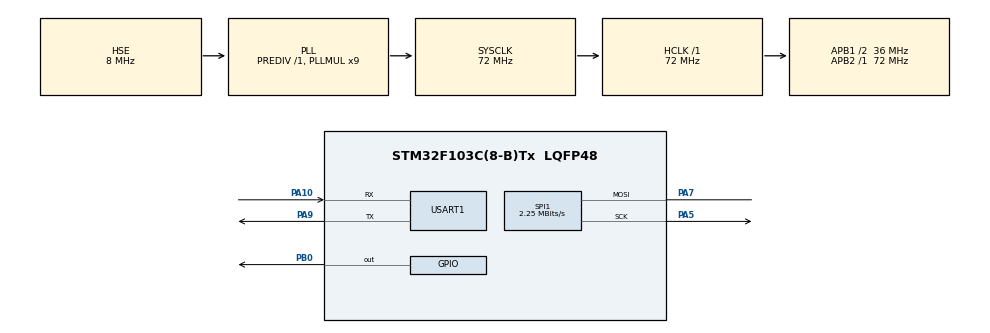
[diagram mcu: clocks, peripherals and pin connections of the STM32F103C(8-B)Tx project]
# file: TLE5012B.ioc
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Mcu.Family=STM32F1
Mcu.Name=STM32F103C(8-B)Tx
Mcu.Package=LQFP48
NVIC.PriorityGroup=NVIC_PRIORITYGROUP_4
PA10.Mode=Asynchronous
PA10.Signal=USART1_RX
PA13.Mode=Serial_Wire
PA13.Signal=SYS_JTMS-SWDIO
PA14.Mode=Serial_Wire
PA14.Signal=SYS_JTCK-SWCLK
PA5.Mode=Simplex_Bidirectional_Master
PA5.Signal=SPI1_SCK
PA7.Mode=Simplex_Bidirectional_Master
PA7.Signal=SPI1_MOSI
PA9.Mode=Asynchronous
PA9.Signal=USART1_TX
PB0.PinState=GPIO_PIN_SET
PB0.Signal=GPIO_Output
PD0-OSC_IN.Mode=HSE-External-Oscillator
PD0-OSC_IN.Signal=RCC_OSC_IN
PD1-OSC_OUT.Mode=HSE-External-Oscillator
PD1-OSC_OUT.Signal=RCC_OSC_OUT
ProjectManager.HeapSize=0x200
ProjectManager.StackSize=0x400
ProjectManager.TargetToolchain=MDK-ARM V5.32
RCC.AHBFreq_Value=72000000
RCC.APB1CLKDivider=RCC_HCLK_DIV2
RCC.APB1Freq_Value=36000000
RCC.APB1TimFreq_Value=72000000
RCC.APB2Freq_Value=72000000
RCC.APB2TimFreq_Value=72000000
RCC.HCLKFreq_Value=72000000
RCC.PLLMUL=RCC_PLL_MUL9
RCC.PLLSourceVirtual=RCC_PLLSOURCE_HSE
RCC.SYSCLKFreq_VALUE=72000000
RCC.SYSCLKSource=RCC_SYSCLKSOURCE_PLLCLK
RCC.USBFreq_Value=72000000
SPI1.BaudRatePrescaler=SPI_BAUDRATEPRESCALER_32
SPI1.CLKPhase=SPI_PHASE_2EDGE
SPI1.CLKPolarity=SPI_POLARITY_HIGH
SPI1.CRCCalculation=SPI_CRCCALCULATION_ENABLE
SPI1.CalculateBaudRate=2.25 MBits/s
SPI1.Direction=SPI_DIRECTION_1LINE
SPI1.Mode=SPI_MODE_MASTER
SPI1.VirtualType=VM_MASTER
USART1.VirtualMode=VM_ASYNC
board=custom

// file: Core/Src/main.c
/* USER CODE BEGIN Header */
/**
  ******************************************************************************
  * @file           : main.c
  * @brief          : Main program body
  ******************************************************************************
  * @attention
  *
  * Copyright (c) 2025 STMicroelectronics.
  * All rights reserved.
  *
  * This software is licensed under terms that can be found in the LICENSE file
  * in the root directory of this software component.
  * If no LICENSE file comes with this software, it is provided AS-IS.
  *
  ******************************************************************************
  */
/* USER CODE END Header */
#include "main.h"
#include "spi.h"
#include "usart.h"
#include "gpio.h"

/* USER CODE BEGIN Includes */
#include "stdio.h"
#include "string.h"
#include "TLE5012B.h"
/* USER CODE END Includes */

void SystemClock_Config(void);
/* USER CODE BEGIN PFP */
void HardwareDiagnostic(void);
void SimpleCommunicationTest(void);
uint16_t ReadAngle_Basic(void);
uint16_t ReadAngle_Alternative(void);
uint16_t ReadAngle_SingleTransaction(void);

void TestCRC_Calculation(void);
// SSC通信测试
void TestSSC_Communication(void);
// SPI模式测试
void TestSPI_Modes(void);
void TLE5012_Init_SSC(void);
// 读取角速度
float ReadAngularSpeed_SSC(void);
// 完整的角度读取函数（基于博客原理）
float ReadAngle_SSC(void);

HAL_StatusTypeDef TLE5012B_ReadAngle(SPI_HandleTypeDef *hspi, GPIO_TypeDef *CS_GPIO, uint16_t CS_Pin, float *angle);
void TLE5012B_Init(void);
/* USER CODE END PFP */

/* USER CODE BEGIN 0 */
// 方法1: 最基本的读取（推荐先试这个）
uint16_t ReadAngle_Basic(void)
{
    uint8_t tx_buf[2];
    uint8_t rx_buf[2];
    uint16_t result;

    // 发送读取命令
    tx_buf[0] = 0x80; // 0x8021 高字节
    tx_buf[1] = 0x21; // 0x8021 低字节

    HAL_GPIO_WritePin(GPIOB, 0x0001, 0);
    HAL_SPI_TransmitReceive(&hspi1, tx_buf, rx_buf, 2, 1000);
    HAL_GPIO_WritePin(GPIOB, 0x0001, 1);

    // 重要：给传感器处理时间
    HAL_Delay(5); // 增加到5ms

    // 读取数据
    tx_buf[0] = 0xFF; // 哑元数据
    tx_buf[1] = 0xFF; // 哑元数据

    HAL_GPIO_WritePin(GPIOB, 0x0001, 0);
    HAL_SPI_TransmitReceive(&hspi1, tx_buf, rx_buf, 2, 1000);
    HAL_GPIO_WritePin(GPIOB, 0x0001, 1);

    result = (rx_buf[0] << 8) | rx_buf[1];
    return result;
}

// 方法2: 使用不同的寄存器地址尝试
uint16_t ReadAngle_Alternative(void)
{
    uint8_t tx_buf[2];
    uint8_t rx_buf[2];
    uint16_t result;

    // 尝试使用0x8020而不是0x8021
    tx_buf[0] = 0x80; // 0x8020 高字节
    tx_buf[1] = 0x20; // 0x8020 低字节

    HAL_GPIO_WritePin(GPIOB, 0x0001, 0);
    HAL_SPI_TransmitReceive(&hspi1, tx_buf, rx_buf, 2, 1000);
    HAL_GPIO_WritePin(GPIOB, 0x0001, 1);

    HAL_Delay(5);

    tx_buf[0] = 0xFF;
    tx_buf[1] = 0xFF;

    HAL_GPIO_WritePin(GPIOB, 0x0001, 0);
    HAL_SPI_TransmitReceive(&hspi1, tx_buf, rx_buf, 2, 1000);
    HAL_GPIO_WritePin(GPIOB, 0x0001, 1);

    result = (rx_buf[0] << 8) | rx_buf[1];
    return result;
}

// 方法3: 单次长传输
uint16_t ReadAngle_SingleTransaction(void)
{
    uint8_t tx_buf[4];
    uint8_t rx_buf[4];
    uint16_t result;

    // 一次性发送命令和哑元数据
    tx_buf[0] = 0x80; // 命令高字节
    tx_buf[1] = 0x21; // 命令低字节
    tx_buf[2] = 0xFF; // 哑元高字节
    tx_buf[3] = 0xFF; // 哑元低字节

    HAL_GPIO_WritePin(GPIOB, 0x0001, 0);
    HAL_SPI_TransmitReceive(&hspi1, tx_buf, rx_buf, 4, 1000);
    HAL_GPIO_WritePin(GPIOB, 0x0001, 1);

    // 从第3、4字节获取角度数据
    result = (rx_buf[2] << 8) | rx_buf[3];
    return result;
}

// 读取角度值（核心函数）
HAL_StatusTypeDef TLE5012B_ReadAngle(SPI_HandleTypeDef *hspi, GPIO_TypeDef *CS_GPIO, uint16_t CS_Pin, float *angle) {
    uint16_t tx_data[3] = {0x8020, 0x0000, 0x0000}; // 0x8020为角度寄存器地址
    uint16_t rx_data[3] = {0};

    // 启动传输
    HAL_GPIO_WritePin(CS_GPIO, CS_Pin, GPIO_PIN_RESET);
    HAL_SPI_TransmitReceive(hspi, (uint8_t*)tx_data, (uint8_t*)rx_data, 3, 100);
    HAL_GPIO_WritePin(CS_GPIO, CS_Pin, GPIO_PIN_SET);

    // 校验数据有效性 (bit15)
    if(rx_data[1] & 0x8000) {
        // 提取15位角度值 (0-32767)
        uint16_t raw_angle = rx_data[1] & 0x7FFF;
        // 转换为角度 (0-360°)
        *angle = (raw_angle * 360.0f) / 32768.0f;
        return HAL_OK;
    }
    return HAL_ERROR;
}

// 初始化函数示例
void TLE5012B_Init(void) {
    // 发送配置命令 (示例：启用预测值模式)
    uint16_t config_cmd = 0x5080; // 配置寄存器地址+数据
    HAL_GPIO_WritePin(GPIOB, GPIO_PIN_0, GPIO_PIN_RESET);
    HAL_SPI_Transmit(&hspi1, (uint8_t*)&config_cmd, 1, 100);
    HAL_GPIO_WritePin(GPIOB, GPIO_PIN_0, GPIO_PIN_SET);
}

/* USER CODE END 0 */

int main(void)
{

  /* MCU Configuration--------------------------------------------------------*/

  /* Reset of all peripherals, Initializes the Flash interface and the Systick. */
  HAL_Init();

  /* Configure the system clock */
  SystemClock_Config();

  /* Initialize all configured peripherals */
  MX_GPIO_Init();
  MX_SPI1_Init();
  MX_USART1_UART_Init();
  /* USER CODE BEGIN 2 */
	char msg[100];
//
//    sprintf(msg, "TLE5012B SSC协议测试启动...\r\n");
//    HAL_UART_Transmit(&huart1, (uint8_t*)msg, strlen(msg), 100);
//
//    HAL_Delay(1000);
//
//    // 运行测试
//    TestCRC_Calculation();
//    HAL_Delay(1000);
//
//    TestSPI_Modes();
//    HAL_Delay(1000);
//
//    // 初始化设备
//    TLE5012_Init_SSC();
//    HAL_Delay(1000);
//
//    sprintf(msg, "开始连续角度读取...\r\n");
//    HAL_UART_Transmit(&huart1, (uint8_t*)msg, strlen(msg), 100);
//
//
//

//	    char buf[120];
//    uint16_t raw_angle;
//    float angle_deg;
//    uint32_t test_counter = 0;
//
//    // 运行诊断
//    HardwareDiagnostic();
//    SimpleCommunicationTest();
//
//    HAL_Delay(2000);
//
//    sprintf(buf, "\r\n开始角度读取测试...\r\n");
//    HAL_UART_Transmit(&huart1, (uint8_t*)buf, strlen(buf), 100);
////
//
//	    // 初始化传感器
//    SensorInit();
//
//    // 运行诊断
//    SensorDiagnostic();
//		HardwareDiagnostic();
//
//    char buffer[100];
//    float angle, speed;
//    uint32_t last_print = 0;

    char buf[60];
    float angle;
//    uint8_t success;
  /* USER CODE END 2 */

  /* Infinite loop */
  /* USER CODE BEGIN WHILE */

  while (1)
  {

//        float angle = ReadAngle_SSC();
//        float speed = ReadAngularSpeed_SSC();
//        char buf[80];
//
//        if (angle > -900.0f && speed > -900.0f) {
            sprintf(buf, "角度: %7.2f/s\r\n", angle);
//        } else {
//            sprintf(buf, "读取失败 - 角度: %.1f, 速度: %.1f\r\n", angle, speed);
//        }
//
        HAL_UART_Transmit(&huart1, (uint8_t*)buf, strlen(buf), 100);
//        HAL_Delay(200);

//		SimpleCommunicationTest();
//
//		    // 读取角度和速度
//        angle = ReadAngleDegrees();
//        speed = ReadAngularSpeed();
//
//        // 每100ms打印一次数据
//        if (HAL_GetTick() - last_print > 100) {
//            if (angle > -900.0f) { // 有效数据
//                sprintf(buffer, "Angle: %7.2f°, Speed: %6.2f°/s\r\n", angle, speed);
//            } else {
//                sprintf(buffer, "Angle read error\r\n");
//            }
//
//            HAL_UART_Transmit(&huart1, (uint8_t*)buffer, strlen(buffer), 100);
//            last_print = HAL_GetTick();
//        }
//
//        HAL_Delay(10);
//
//

    /* USER CODE END WHILE */

  }
}

void SystemClock_Config(void)
{
  RCC_OscInitTypeDef RCC_OscInitStruct = {0};
  RCC_ClkInitTypeDef RCC_ClkInitStruct = {0};

  /** Initializes the RCC Oscillators according to the specified parameters
  * in the RCC_OscInitTypeDef structure.
  */
  RCC_OscInitStruct.OscillatorType = RCC_OSCILLATORTYPE_HSE;
  RCC_OscInitStruct.HSEState = RCC_HSE_ON;
  RCC_OscInitStruct.HSEPredivValue = RCC_HSE_PREDIV_DIV1;
  RCC_OscInitStruct.HSIState = RCC_HSI_ON;
  RCC_OscInitStruct.PLL.PLLState = RCC_PLL_ON;
  RCC_OscInitStruct.PLL.PLLSource = RCC_PLLSOURCE_HSE;
  RCC_OscInitStruct.PLL.PLLMUL = RCC_PLL_MUL9;
  if (HAL_RCC_OscConfig(&RCC_OscInitStruct) != HAL_OK)
  {
    Error_Handler();
  }

  /** Initializes the CPU, AHB and APB buses clocks
  */
  RCC_ClkInitStruct.ClockType = RCC_CLOCKTYPE_HCLK|RCC_CLOCKTYPE_SYSCLK
                              |RCC_CLOCKTYPE_PCLK1|RCC_CLOCKTYPE_PCLK2;
  RCC_ClkInitStruct.SYSCLKSource = RCC_SYSCLKSOURCE_PLLCLK;
  RCC_ClkInitStruct.AHBCLKDivider = RCC_SYSCLK_DIV1;
  RCC_ClkInitStruct.APB1CLKDivider = RCC_HCLK_DIV2;
  RCC_ClkInitStruct.APB2CLKDivider = RCC_HCLK_DIV1;

  if (HAL_RCC_ClockConfig(&RCC_ClkInitStruct, FLASH_LATENCY_2) != HAL_OK)
  {
    Error_Handler();
  }
}

void Error_Handler(void)
{
  __disable_irq();
  while (1)
  {
  }
}
